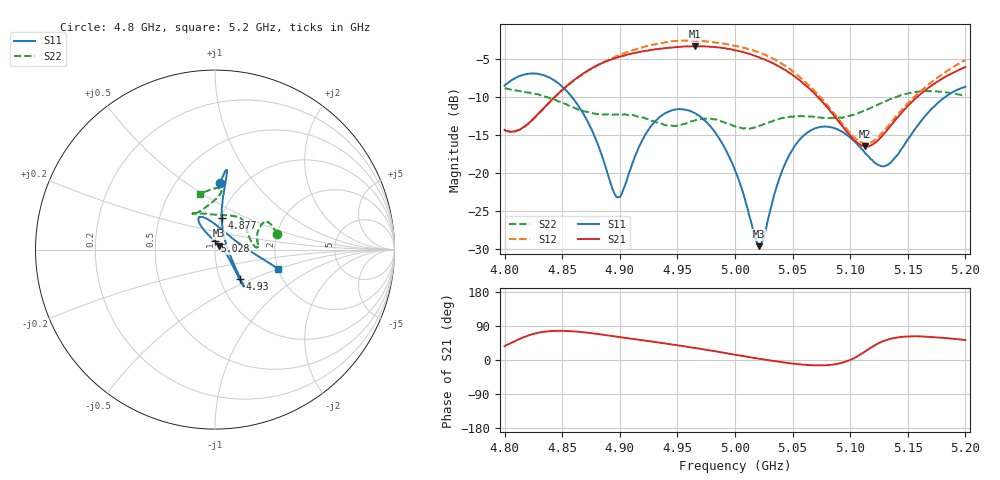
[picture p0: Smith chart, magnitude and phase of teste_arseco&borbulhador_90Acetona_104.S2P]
! Network Analyzer HP8722D
! Hewlett-Packard
! Data name: Linha & Wilkinson
! Saver's name: Rodrigo Anjos
! Comments: Teste da utilização de aquisição
! continua pelo VNA HP8722D
! Time and date: 17/4/2025 11:55
!  Frequency  S11  S21  S12  S22
# HZ  S  MA R 50
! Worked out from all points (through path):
!   401 points, 4.8 GHz to 5.2 GHz, reference 50 ohm
!   highest |S21| = -3.37 dB at 4.965 GHz (marker M1); lowest = -16.6 dB at 5.113 GHz (marker M2)
!   lowest |S11| = -29.7 dB at 5.021 GHz (marker M3), VSWR 1.07, Z = 52.4 + j2.32 ohm
!   |S11| at or under -10 dB: 4.858 GHz to 5.183 GHz (324.9 MHz wide, 6.47 % of centre)
!   |S22| runs from -14.2 to -8.9 dB; largest |S21 - S12| = 0.23
!   S11 on the Smith chart (normalised r, x): 4.8 GHz: 0.79, +0.69; 4.877 GHz: 1.01, +0.37; 4.93 GHz: 1.25, -0.42; 5.028 GHz: 1.00, +0.09; 5.2 GHz: 2.00, -0.49
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4.8e9  0.3734 86.0  0.1906 36.6  0.1904 -3.0  0.3566 14.3
4.815e9  0.4356 82.7  0.1954 58.2  0.1947 19.6  0.3424 23.9
4.834e9  0.4361 81.2  0.2659 74.4  0.2644 37.8  0.3176 29.3
4.867e9  0.2533 80.9  0.4418 73.5  0.4375 43.5  0.2543 21.9
4.877e9  0.1813 78.1  0.4917 70.1  0.4896 42.7  0.2448 17.1
4.894e9  0.07655 44.0  0.5587 63.0  0.5703 40.1  0.24 9.0
4.899e9  0.06895 15.3  0.5749 60.8  0.5896 39.5  0.2408 7.2
4.918e9  0.1553 -42.2  0.622 52.8  0.6595 35.3  0.2324 3.2
4.93e9  0.2146 -48.8  0.6447 47.6  0.6945 31.9  0.2157 6.8
4.934e9  0.23 -50.1  0.651 46.0  0.7083 30.6  0.2114 9.5
4.965e9  0.2464 -51.8  0.6786 31.7  0.7372 18.9  0.2199 41.0
4.983e9  0.1829 -47.9  0.6686 22.9  0.7177 12.0  0.2232 54.4
5e9  0.104 -35.5  0.6371 13.8  0.6834 5.8  0.202 71.8
5.021e9  0.03281 42.5  0.5729 3.4  0.6159 -2.3  0.2028 101.2
5.028e9  0.0467 90.3  0.5436 0.0  0.584 -4.9  0.2131 108.5
5.046e9  0.125 119.5  0.4589 -8.1  0.4898 -10.8  0.232 119.4
5.067e9  0.1913 118.9  0.3424 -13.7  0.3572 -13.6  0.2343 121.4
5.089e9  0.1928 110.1  0.2217 -10.1  0.2302 -5.7  0.2294 112.7
5.113e9  0.1344 85.9  0.1485 22.7  0.1557 30.2  0.2581 96.0
5.134e9  0.1146 35.0  0.1984 55.1  0.2072 65.3  0.302 85.7
5.172e9  0.268 -10.9  0.3793 60.6  0.4005 78.6  0.343 87.9
5.2e9  0.3666 -16.7  0.4944 52.6  0.5502 76.4  0.3217 104.6
